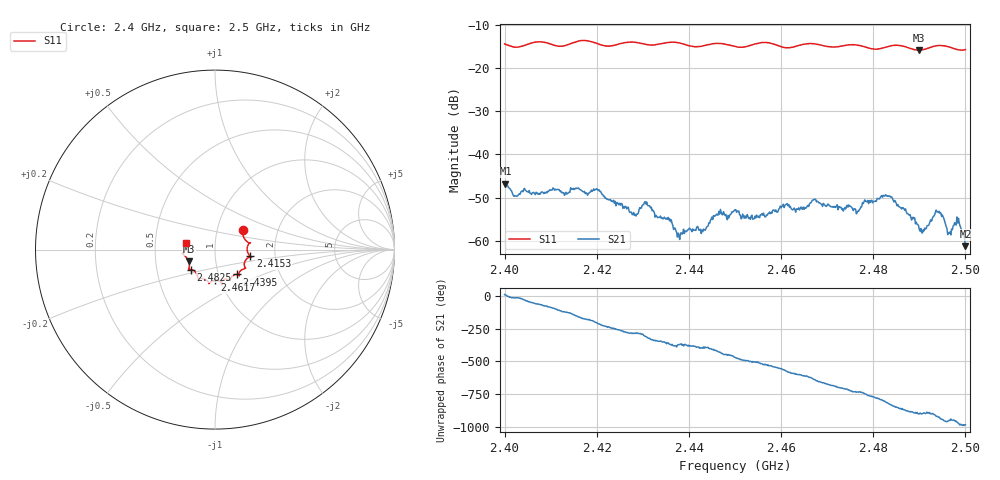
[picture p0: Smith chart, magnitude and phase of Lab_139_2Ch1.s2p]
# Hz S RI R 50
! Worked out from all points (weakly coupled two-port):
!   601 points, 2.4 GHz to 2.5 GHz, reference 50 ohm
!   highest |S21| = -46.75 dB at 2.4002 GHz (marker M1); lowest = -61.2 dB at 2.5 GHz (marker M2)
!   lowest |S11| = -15.9 dB at 2.4898 GHz (marker M3), VSWR 1.38, Z = 36.9 - j4.87 ohm
!   |S11| at or under -10 dB: start of sweep to end of sweep
!   S12 and S22 are empty: the file has one direction only
!   S11 on the Smith chart (normalised r, x): 2.4 GHz: 1.33, +0.30; 2.4153 GHz: 1.48, -0.12; 2.4395 GHz: 1.22, -0.35; 2.4617 GHz: 0.94, -0.33; 2.4825 GHz: 0.75, -0.17; 2.5 GHz: 0.72, +0.05
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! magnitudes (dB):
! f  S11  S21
! 2.4 GHz  -14.4  -46.9
! 2.4002 GHz  -14.5  -46.7
! 2.4023 GHz  -15.2  -49.6
! 2.4153 GHz  -14.0  -47.9
! 2.4167 GHz  -13.6  -48.3
! 2.4203 GHz  -14.4  -48.3
! 2.4282 GHz  -14.0  -54.1
! 2.4308 GHz  -14.6  -51.0
! 2.4333 GHz  -14.5  -54.6
! 2.4395 GHz  -14.7  -57.8
! 2.45 GHz  -15.0  -52.8
! 2.4537 GHz  -14.6  -54.0
! 2.4617 GHz  -15.3  -51.6
! 2.4667 GHz  -14.3  -50.8
! 2.4767 GHz  -14.7  -53.1
! 2.4825 GHz  -15.2  -49.6
! 2.4833 GHz  -15.0  -49.7
! 2.4898 GHz  -15.9  -56.5
! 2.4942 GHz  -14.8  -53.4
! 2.4963 GHz  -15.1  -58.1
! 2.4987 GHz  -15.8  -55.9
! 2.5 GHz  -15.7  -61.2
